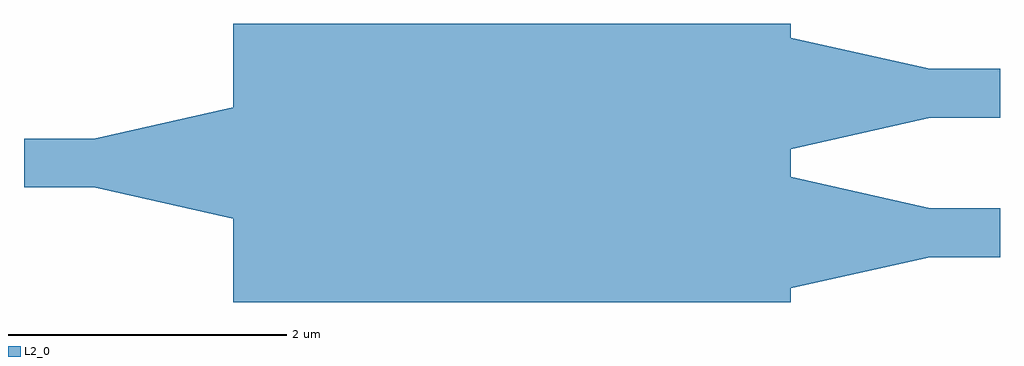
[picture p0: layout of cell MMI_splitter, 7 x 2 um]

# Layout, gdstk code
import gdstk
lib = gdstk.Library(unit=1e-6, precision=1e-09)
def R(c, l, rs):  # rectangles x0, y0, x1, y1
    for r in rs: c.add(gdstk.rectangle(r[:2], r[2:], *l))
def P(c, l, *ps):  # polygons
    for p in ps: c.add(gdstk.Polygon(p, *l))
L2_0 = (2, 0)

mmi_splitter = lib.new_cell('MMI_splitter')
R(mmi_splitter, L2_0, [(-2,-1,2,1), (3,-0.675,3.5,-0.325), (-3.5,-0.175,-3,0.175), (3,0.325,3.5,0.675)])
P(mmi_splitter, L2_0, [(-2,-0.4),(-3,-0.175),(-3,0.175),(-2,0.4)],
  [(2,0.1),(2,0.9),(3,0.675),(3,0.325)],
  [(2,-0.9),(2,-0.1),(3,-0.325),(3,-0.675)])

lib.write_gds('MMI_splitter.gds')
